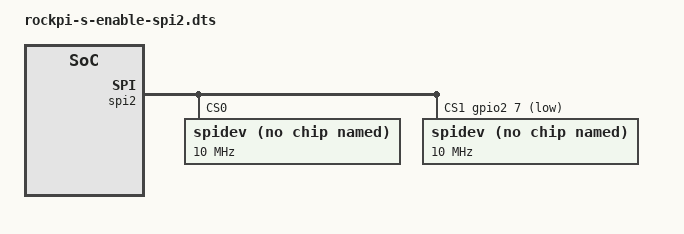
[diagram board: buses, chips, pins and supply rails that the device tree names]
/dts-v1/;
/plugin/;

// From include/dt-bindings/pinctrl/rockchip.h
// #define RK_PA7          7

// From include/dt-bindings/gpio/gpio.h
// #define GPIO_ACTIVE_HIGH 0
// #define GPIO_ACTIVE_LOW 1

// This refers to the uart1 module defined in the main devicetree, see
// e.g. /proc/device-tree/__symbols__/uart1
&spi2 {
    status = "okay";

    // Default pinctrl config includes cs0 in SPI mode, which is ok, so
    // no need to configure pinctrl

    // Connect extra gpio CS pin
    cs-gpios = <0 /* native cs0 */>, <&gpio2 7 /* RK_PA7 */ 1 /* GPIO_ACTIVE_LOW */>;

    // Create /dev/spidevx.y devices
    spidev@0 {
            compatible = "rohm,dh2228fv";
            reg = <0>;
            spi-max-frequency = <10000000>;
    };
    spidev@1 {
            compatible = "rohm,dh2228fv";
            reg = <1>;
            spi-max-frequency = <10000000>;
    };
};

&uart2 {
        // Disable to free up spi2 MISO and MOSI pins
        status = "disabled";
};
